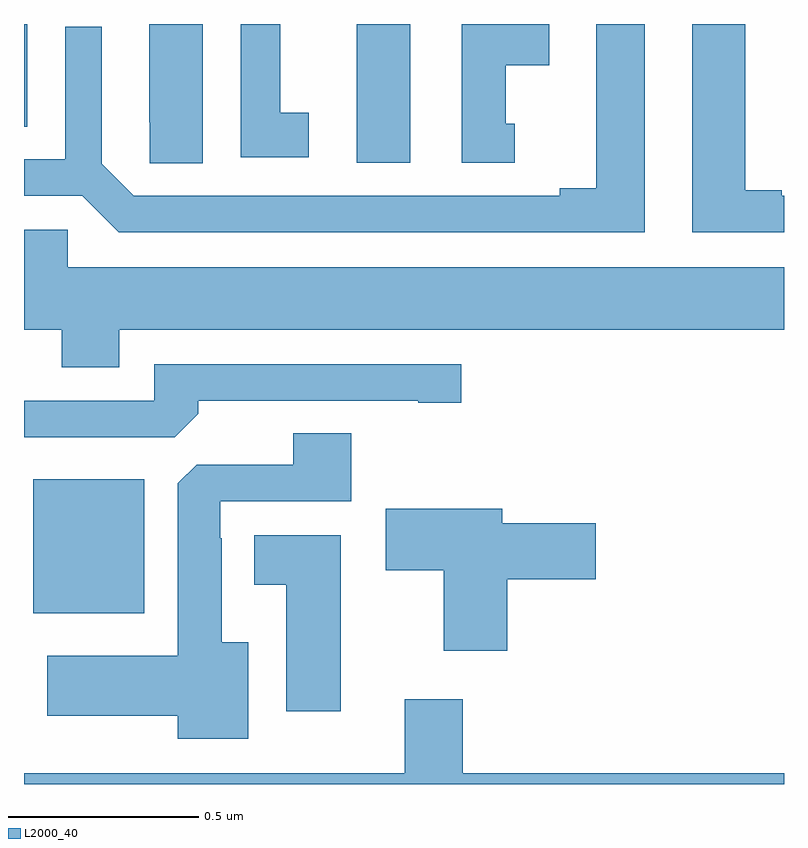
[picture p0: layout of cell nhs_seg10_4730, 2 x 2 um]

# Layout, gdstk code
import gdstk
lib = gdstk.Library(unit=1e-6, precision=1e-09)
def R(c, l, rs):  # rectangles x0, y0, x1, y1
    for r in rs: c.add(gdstk.rectangle(r[:2], r[2:], *l))
def P(c, l, *ps):  # polygons
    for p in ps: c.add(gdstk.Polygon(p, *l))
L2000_40 = (2000, 40)

nhs_seg10_4730 = lib.new_cell('nhs_seg10_4730')
R(nhs_seg10_4730, L2000_40, [(170.024,1252.949,170.317,1253.302), (170.876,1254.135,171.016,1254.5), (170,1254.229,170.008,1254.5)])
P(nhs_seg10_4730, L2000_40, [(172,1254.048),(171.994,1254.048),(171.994,1254.063),(171.898,1254.063),(171.898,1254.5),(171.758,1254.5),(171.758,1253.952),(172,1253.952)],
  [(171.292,1254.237),(171.268,1254.237),(171.268,1254.392),(171.382,1254.392),(171.382,1254.5),(171.152,1254.5),(171.152,1254.135),(171.292,1254.135)],
  [(171.634,1254.5),(171.506,1254.5),(171.506,1254.068),(171.41,1254.068),(171.41,1254.048),(170.289,1254.048),(170.205,1254.132),(170.205,1254.493),(170.109,1254.493),(170.109,1254.144),(170,1254.144),(170,1254.048),(170.153,1254.048),(170.249,1253.952),(171.634,1253.952)],
  [(170.749,1254.266),(170.674,1254.266),(170.674,1254.5),(170.57,1254.5),(170.57,1254.15),(170.749,1254.15)],
  [(170.47,1254.5),(170.33,1254.5),(170.33,1254.241),(170.331,1254.241),(170.331,1254.133),(170.47,1254.133)],
  [(170.251,1253.696),(172,1253.696),(172,1253.86),(170.115,1253.86),(170.115,1253.958),(170,1253.958),(170,1253.696),(170.099,1253.696),(170.099,1253.597),(170.251,1253.597)],
  [(170.459,1253.474),(170.459,1253.508),(171.038,1253.508),(171.038,1253.503),(171.151,1253.503),(171.151,1253.604),(170.343,1253.604),(170.343,1253.508),(170,1253.508),(170,1253.412),(170.397,1253.412)],
  [(170.59,1252.873),(170.521,1252.873),(170.521,1253.147),(170.517,1253.147),(170.517,1253.244),(170.861,1253.244),(170.861,1253.423),(170.708,1253.423),(170.708,1253.34),(170.454,1253.34),(170.405,1253.291),(170.405,1252.837),(170.061,1252.837),(170.061,1252.679),(170.405,1252.679),(170.405,1252.619),(170.59,1252.619)],
  [(171.272,1253.039),(171.505,1253.039),(171.505,1253.186),(171.259,1253.186),(171.259,1253.224),(170.952,1253.224),(170.952,1253.062),(171.104,1253.062),(171.104,1252.851),(171.272,1252.851)],
  [(170.833,1253.155),(170.606,1253.155),(170.606,1253.024),(170.69,1253.024),(170.69,1252.692),(170.833,1252.692)],
  [(172,1252.528),(171.155,1252.528),(171.155,1252.723),(171.002,1252.723),(171.002,1252.528),(170,1252.528),(170,1252.5),(172,1252.5)])

lib.write_gds('nhs_seg10_4730.gds')
